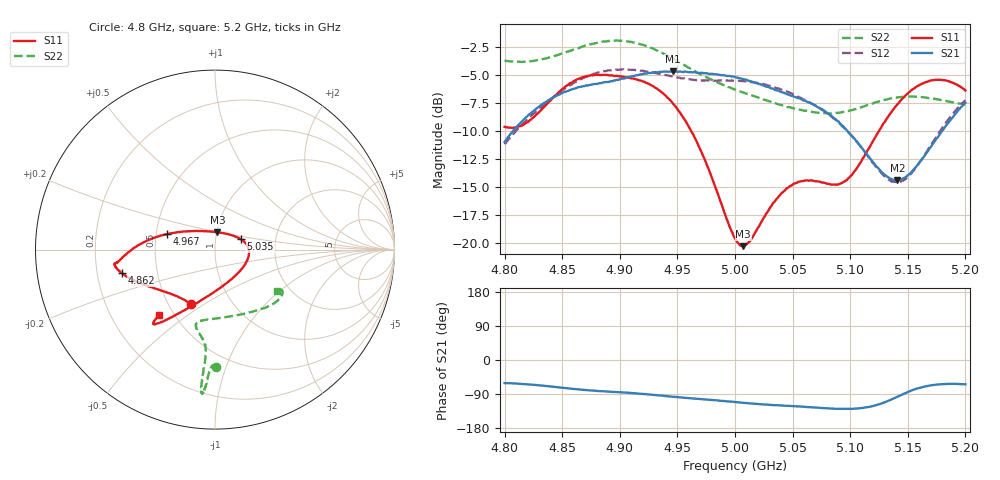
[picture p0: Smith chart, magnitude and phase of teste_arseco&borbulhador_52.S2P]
! Network Analyzer HP8722D
! Hewlett-Packard
! Data name: Linha & Wilkinson
! Saver's name: Rodrigo Anjos
! Comments: Teste da utilização de aquisição
! continua pelo VNA HP8722D
! Time and date: 15/4/2025 16:04
!  Frequency  S11  S21  S12  S22
# HZ  S  MA R 50
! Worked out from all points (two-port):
!   401 points, 4.8 GHz to 5.2 GHz, reference 50 ohm
!   highest |S21| = -4.64 dB at 4.946 GHz (marker M1); lowest = -14.4 dB at 5.141 GHz (marker M2)
!   |S21| within 3 dB of the highest: 4.832 GHz to 5.068 GHz (236.6 MHz wide, 4.78 % of centre); 5.198199 GHz to end of sweep
!   lowest |S11| = -20.2 dB at 5.007 GHz (marker M3), VSWR 1.22, Z = 50.4 + j9.79 ohm
!   |S11| at or under -10 dB: 4.962 GHz to 5.125 GHz (162.6 MHz wide, 3.22 % of centre)
!   |S22| runs from -8.4 to -1.9 dB; largest |S21 - S12| = 0.88
!   S11 on the Smith chart (normalised r, x): 4.8 GHz: 0.65, -0.44; 4.862 GHz: 0.31, -0.11; 4.967 GHz: 0.57, +0.11; 5.035 GHz: 1.32, +0.16; 5.2 GHz: 0.41, -0.39
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4.8e9  0.3313 -114.0  0.284 -60.9  0.2772 -175.1  0.6534 -89.6
4.819e9  0.3459 -133.8  0.3672 -63.9  0.3543 -173.6  0.6487 -91.3
4.862e9  0.5362 -165.9  0.493 -76.8  0.5269 -176.5  0.7398 -93.6
4.867e9  0.5494 -167.9  0.502 -78.4  0.5428 -177.6  0.7538 -93.8
4.9e9  0.5566 -172.3  0.5405 -85.2  0.5963 175.7  0.802 -95.2
4.934e9  0.483 -178.2  0.5815 -93.4  0.5724 171.7  0.7177 -95.7
4.946e9  0.4217 176.3  0.5864 -97.0  0.5555 171.8  0.6681 -95.5
4.967e9  0.2829 162.3  0.5772 -102.3  0.535 173.8  0.5802 -95.0
5e9  0.1056 106.1  0.5526 -111.1  0.5328 176.2  0.486 -99.3
5.007e9  0.09716 82.3  0.541 -112.8  0.53 176.2  0.4714 -101.0
5.014e9  0.1041 60.0  0.5288 -114.7  0.5254 176.0  0.4595 -102.5
5.035e9  0.1551 22.2  0.4839 -119.1  0.4961 175.0  0.4227 -103.9
5.05e9  0.1829 6.0  0.4559 -121.7  0.4651 174.3  0.4028 -100.3
5.067e9  0.1907 -12.1  0.4195 -125.1  0.4199 174.0  0.3865 -91.7
5.087e9  0.1829 -44.5  0.3594 -128.9  0.3569 173.6  0.382 -76.7
5.097e9  0.1915 -65.6  0.32 -129.1  0.3191 174.2  0.3883 -68.4
5.134e9  0.3746 -116.4  0.1955 -106.5  0.1915 -159.3  0.4424 -43.3
5.141e9  0.4176 -120.4  0.1911 -96.7  0.1877 -148.3  0.4487 -40.2
5.152e9  0.4769 -124.8  0.2055 -81.9  0.2025 -131.1  0.452 -36.3
5.17e9  0.533 -128.8  0.2695 -66.9  0.2742 -113.1  0.4449 -32.2
5.184e9  0.5318 -130.1  0.3401 -63.1  0.3513 -107.3  0.4315 -31.2
5.2e9  0.4814 -130.6  0.4245 -64.2  0.436 -106.2  0.4152 -33.5
